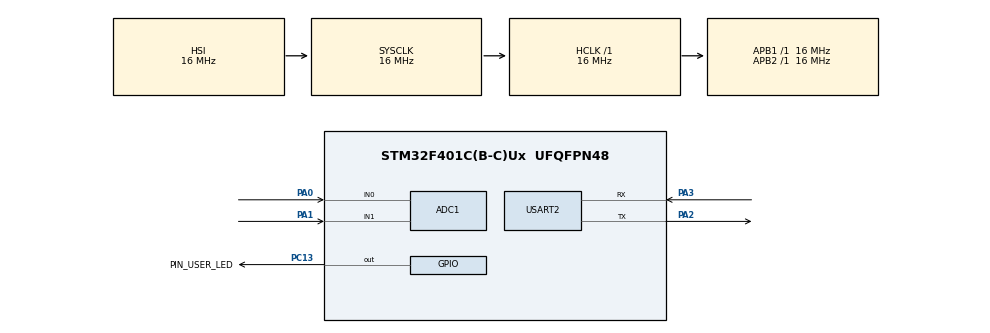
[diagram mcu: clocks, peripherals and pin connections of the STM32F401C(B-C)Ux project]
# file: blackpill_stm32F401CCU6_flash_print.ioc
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ADC1.Channel-3\#ChannelRegularConversion=ADC_CHANNEL_0
ADC1.NbrOfConversionFlag=1
ADC1.Rank-3\#ChannelRegularConversion=1
ADC1.SamplingTime-3\#ChannelRegularConversion=ADC_SAMPLETIME_3CYCLES
ADC1.master=1
Mcu.Family=STM32F4
Mcu.Name=STM32F401C(B-C)Ux
Mcu.Package=UFQFPN48
NVIC.PriorityGroup=NVIC_PRIORITYGROUP_4
PA0-WKUP.Signal=ADCx_IN0
PA1.Signal=ADCx_IN1
PA2.Mode=Asynchronous
PA2.Signal=USART2_TX
PA3.Mode=Asynchronous
PA3.Signal=USART2_RX
PC13-ANTI_TAMP.GPIO_Label=PIN_USER_LED
PC13-ANTI_TAMP.Signal=GPIO_Output
ProjectManager.HeapSize=0x200
ProjectManager.StackSize=0x400
ProjectManager.TargetToolchain=STM32CubeIDE
RCC.AHBFreq_Value=16000000
RCC.APB1Freq_Value=16000000
RCC.APB2Freq_Value=16000000
RCC.CortexFreq_Value=16000000
RCC.HSE_VALUE=25000000
RCC.HSI_VALUE=16000000
RCC.LSE_VALUE=32768
RCC.SYSCLKFreq_VALUE=16000000
RCC.VCOOutputFreq_Value=192000000
SH.ADCx_IN0.0=ADC1_IN0,IN0
SH.ADCx_IN1.0=ADC1_IN1,IN1
USART2.Parity=PARITY_EVEN
USART2.VirtualMode=VM_ASYNC
board=custom

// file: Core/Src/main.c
/* USER CODE BEGIN Header */
// Print:
// open COM port in putty or stm32ide ( Open Control )
// 115200, data bit 7 , stop bit 1, parity Even, Flow Control None.

/**
 ******************************************************************************
 * @file           : main.c
 * @brief          : Main program body
 ******************************************************************************
 * @attention
 *
 * Copyright (c) 2022 STMicroelectronics.
 * All rights reserved.
 *
 * This software is licensed under terms that can be found in the LICENSE file
 * in the root directory of this software component.
 * If no LICENSE file comes with this software, it is provided AS-IS.
 *
 ******************************************************************************
 */
/* USER CODE END Header */
#include "main.h"

ADC_HandleTypeDef hadc1;

UART_HandleTypeDef huart2;

void SystemClock_Config(void);
static void MX_GPIO_Init(void);
static void MX_USART2_UART_Init(void);
static void MX_ADC1_Init(void);
/* USER CODE BEGIN PFP */

/* Private function prototypes -----------------------------------------------*/
#ifdef __GNUC__
  /* With GCC, small printf (option LD Linker->Libraries->Small printf
     set to 'Yes') calls __io_putchar() */
  #define PUTCHAR_PROTOTYPE int __io_putchar(int ch)
#else
  #define PUTCHAR_PROTOTYPE int fputc(int ch, FILE *f)
#endif /* __GNUC__ */
/* USER CODE END PFP */

/* USER CODE BEGIN 0 */
/*

must have this to print in uart com port
PUTCHAR_PROTOTYPE
{
  // Place your implementation of fputc here
  // e.g. write a character to the EVAL_COM1 and Loop until the end of transmission
  HAL_UART_Transmit(&huart2, (uint8_t *)&ch, 1, 0xFFFF);

  return ch;
}
*/
/* USER CODE END 0 */

int main(void)
{
  /* USER CODE BEGIN 1 */
  uint16_t raw=0;
  /* USER CODE END 1 */

  /* MCU Configuration--------------------------------------------------------*/

  /* Reset of all peripherals, Initializes the Flash interface and the Systick. */
  HAL_Init();

  /* Configure the system clock */
  SystemClock_Config();

  /* Initialize all configured peripherals */
  MX_GPIO_Init();
  MX_USART2_UART_Init();
  MX_ADC1_Init();
  /* USER CODE BEGIN 2 */

	uint16_t *flashSizeF401Addr = (uint16_t*) 0x1FFF7A22;
	uint16_t flashSize = *flashSizeF401Addr;

  /* USER CODE END 2 */

  /* Infinite loop */
  /* USER CODE BEGIN WHILE */
	while (1) {

		HAL_GPIO_WritePin(GPIOC, PIN_USER_LED_Pin, GPIO_PIN_RESET);
	    HAL_ADC_Start(&hadc1);
	    HAL_ADC_PollForConversion(&hadc1, HAL_MAX_DELAY);
	    raw = HAL_ADC_GetValue(&hadc1);

	    printf("adc read  %hu\r\n", raw);
		printf("Hello World from Stm32CubeIDE!\r\n");
		printf("Device Id not sure how to get,  flash size is %uKB\r\n",
				flashSize);

		// can also use USB as virtual com port to print: CDC_Transmit_FS((uint8_t *) "Hello World CDC !\n", 13); //We add this line for serial comm
		HAL_Delay(500);
		HAL_GPIO_WritePin(GPIOC, PIN_USER_LED_Pin, GPIO_PIN_SET);

		HAL_Delay(500);

    /* USER CODE END WHILE */

	}
}

void SystemClock_Config(void)
{
  RCC_OscInitTypeDef RCC_OscInitStruct = {0};
  RCC_ClkInitTypeDef RCC_ClkInitStruct = {0};

  /** Configure the main internal regulator output voltage
  */
  __HAL_RCC_PWR_CLK_ENABLE();
  __HAL_PWR_VOLTAGESCALING_CONFIG(PWR_REGULATOR_VOLTAGE_SCALE2);

  /** Initializes the RCC Oscillators according to the specified parameters
  * in the RCC_OscInitTypeDef structure.
  */
  RCC_OscInitStruct.OscillatorType = RCC_OSCILLATORTYPE_HSI;
  RCC_OscInitStruct.HSIState = RCC_HSI_ON;
  RCC_OscInitStruct.HSICalibrationValue = RCC_HSICALIBRATION_DEFAULT;
  RCC_OscInitStruct.PLL.PLLState = RCC_PLL_NONE;
  if (HAL_RCC_OscConfig(&RCC_OscInitStruct) != HAL_OK)
  {
    Error_Handler();
  }

  /** Initializes the CPU, AHB and APB buses clocks
  */
  RCC_ClkInitStruct.ClockType = RCC_CLOCKTYPE_HCLK|RCC_CLOCKTYPE_SYSCLK
                              |RCC_CLOCKTYPE_PCLK1|RCC_CLOCKTYPE_PCLK2;
  RCC_ClkInitStruct.SYSCLKSource = RCC_SYSCLKSOURCE_HSI;
  RCC_ClkInitStruct.AHBCLKDivider = RCC_SYSCLK_DIV1;
  RCC_ClkInitStruct.APB1CLKDivider = RCC_HCLK_DIV1;
  RCC_ClkInitStruct.APB2CLKDivider = RCC_HCLK_DIV1;

  if (HAL_RCC_ClockConfig(&RCC_ClkInitStruct, FLASH_LATENCY_0) != HAL_OK)
  {
    Error_Handler();
  }
}

static void MX_ADC1_Init(void)
{

  ADC_ChannelConfTypeDef sConfig = {0};

  /** Configure the global features of the ADC (Clock, Resolution, Data Alignment and number of conversion)
  */
  hadc1.Instance = ADC1;
  hadc1.Init.ClockPrescaler = ADC_CLOCK_SYNC_PCLK_DIV2;
  hadc1.Init.Resolution = ADC_RESOLUTION_12B;
  hadc1.Init.ScanConvMode = DISABLE;
  hadc1.Init.ContinuousConvMode = DISABLE;
  hadc1.Init.DiscontinuousConvMode = DISABLE;
  hadc1.Init.ExternalTrigConvEdge = ADC_EXTERNALTRIGCONVEDGE_NONE;
  hadc1.Init.ExternalTrigConv = ADC_SOFTWARE_START;
  hadc1.Init.DataAlign = ADC_DATAALIGN_RIGHT;
  hadc1.Init.NbrOfConversion = 1;
  hadc1.Init.DMAContinuousRequests = DISABLE;
  hadc1.Init.EOCSelection = ADC_EOC_SINGLE_CONV;
  if (HAL_ADC_Init(&hadc1) != HAL_OK)
  {
    Error_Handler();
  }

  /** Configure for the selected ADC regular channel its corresponding rank in the sequencer and its sample time.
  */
  sConfig.Channel = ADC_CHANNEL_0;
  sConfig.Rank = 1;
  sConfig.SamplingTime = ADC_SAMPLETIME_3CYCLES;
  if (HAL_ADC_ConfigChannel(&hadc1, &sConfig) != HAL_OK)
  {
    Error_Handler();
  }

}

static void MX_USART2_UART_Init(void)
{

  huart2.Instance = USART2;
  huart2.Init.BaudRate = 115200;
  huart2.Init.WordLength = UART_WORDLENGTH_8B;
  huart2.Init.StopBits = UART_STOPBITS_1;
  huart2.Init.Parity = UART_PARITY_EVEN;
  huart2.Init.Mode = UART_MODE_TX_RX;
  huart2.Init.HwFlowCtl = UART_HWCONTROL_NONE;
  huart2.Init.OverSampling = UART_OVERSAMPLING_16;
  if (HAL_UART_Init(&huart2) != HAL_OK)
  {
    Error_Handler();
  }

}

static void MX_GPIO_Init(void)
{
  GPIO_InitTypeDef GPIO_InitStruct = {0};

  /* GPIO Ports Clock Enable */
  __HAL_RCC_GPIOC_CLK_ENABLE();
  __HAL_RCC_GPIOA_CLK_ENABLE();

  /*Configure GPIO pin Output Level */
  HAL_GPIO_WritePin(PIN_USER_LED_GPIO_Port, PIN_USER_LED_Pin, GPIO_PIN_RESET);

  /*Configure GPIO pin : PIN_USER_LED_Pin */
  GPIO_InitStruct.Pin = PIN_USER_LED_Pin;
  GPIO_InitStruct.Mode = GPIO_MODE_OUTPUT_PP;
  GPIO_InitStruct.Pull = GPIO_NOPULL;
  GPIO_InitStruct.Speed = GPIO_SPEED_FREQ_LOW;
  HAL_GPIO_Init(PIN_USER_LED_GPIO_Port, &GPIO_InitStruct);

}

/* USER CODE BEGIN 4 */

/**
  * @brief  Retargets the C library printf function to the USART.
  * @param  None
  * @retval None
  */
PUTCHAR_PROTOTYPE
{
  /* Place your implementation of fputc here */
  /* e.g. write a character to the EVAL_COM1 and Loop until the end of transmission */
  HAL_UART_Transmit(&huart2, (uint8_t *)&ch, 1, 0xFFFF);

  return ch;
}
/* USER CODE END 4 */

void Error_Handler(void)
{
	__disable_irq();
	while (1) {
	}
}
